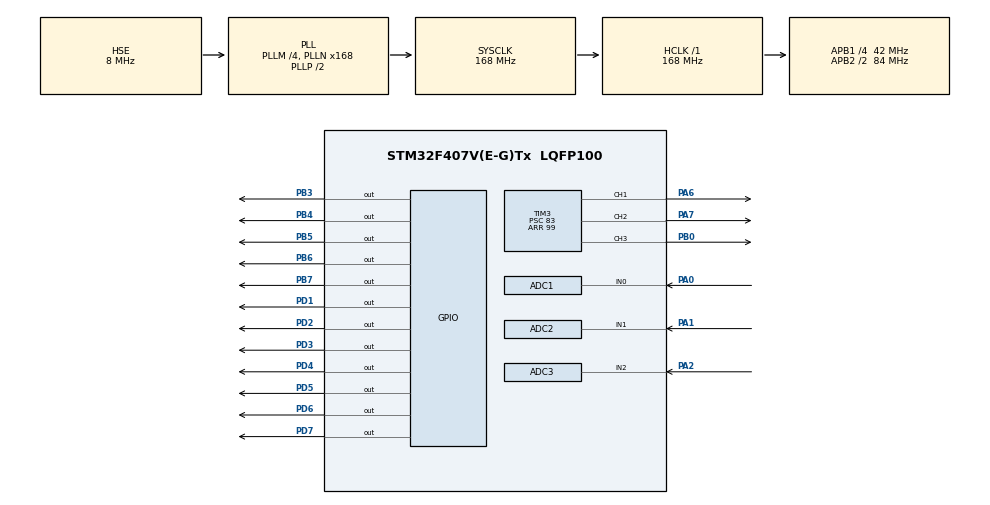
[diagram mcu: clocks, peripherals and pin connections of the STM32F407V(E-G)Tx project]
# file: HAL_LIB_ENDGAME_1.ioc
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ADC1.Channel-0\#ChannelRegularConversion=ADC_CHANNEL_0
ADC1.ContinuousConvMode=ENABLE
ADC1.NbrOfConversionFlag=1
ADC1.Rank-0\#ChannelRegularConversion=1
ADC1.SamplingTime-0\#ChannelRegularConversion=ADC_SAMPLETIME_3CYCLES
ADC1.master=1
ADC2.Channel-0\#ChannelRegularConversion=ADC_CHANNEL_1
ADC2.NbrOfConversionFlag=1
ADC2.Rank-0\#ChannelRegularConversion=1
ADC2.SamplingTime-0\#ChannelRegularConversion=ADC_SAMPLETIME_3CYCLES
ADC3.Channel-0\#ChannelRegularConversion=ADC_CHANNEL_2
ADC3.NbrOfConversionFlag=1
ADC3.Rank-0\#ChannelRegularConversion=1
ADC3.SamplingTime-0\#ChannelRegularConversion=ADC_SAMPLETIME_3CYCLES
Mcu.Family=STM32F4
Mcu.Name=STM32F407V(E-G)Tx
Mcu.Package=LQFP100
NVIC.PriorityGroup=NVIC_PRIORITYGROUP_4
PA0-WKUP.Signal=ADCx_IN0
PA1.Signal=ADCx_IN1
PA2.Signal=ADCx_IN2
PA6.Signal=S_TIM3_CH1
PA7.Signal=S_TIM3_CH2
PB0.Signal=S_TIM3_CH3
PB3.GPIO_Speed=GPIO_SPEED_FREQ_VERY_HIGH
PB3.Signal=GPIO_Output
PB4.GPIO_Speed=GPIO_SPEED_FREQ_VERY_HIGH
PB4.Signal=GPIO_Output
PB5.GPIO_Speed=GPIO_SPEED_FREQ_VERY_HIGH
PB5.Signal=GPIO_Output
PB6.GPIO_Speed=GPIO_SPEED_FREQ_VERY_HIGH
PB6.Signal=GPIO_Output
PB7.GPIO_Speed=GPIO_SPEED_FREQ_VERY_HIGH
PB7.Signal=GPIO_Output
PD1.GPIO_Speed=GPIO_SPEED_FREQ_VERY_HIGH
PD1.Signal=GPIO_Output
PD2.GPIO_Speed=GPIO_SPEED_FREQ_VERY_HIGH
PD2.Signal=GPIO_Output
PD3.GPIO_Speed=GPIO_SPEED_FREQ_VERY_HIGH
PD3.Signal=GPIO_Output
PD4.GPIO_Speed=GPIO_SPEED_FREQ_VERY_HIGH
PD4.Signal=GPIO_Output
PD5.GPIO_Speed=GPIO_SPEED_FREQ_VERY_HIGH
PD5.Signal=GPIO_Output
PD6.GPIO_Speed=GPIO_SPEED_FREQ_VERY_HIGH
PD6.Signal=GPIO_Output
PD7.GPIO_Speed=GPIO_SPEED_FREQ_VERY_HIGH
PD7.Signal=GPIO_Output
PH0-OSC_IN.Mode=HSE-External-Oscillator
PH0-OSC_IN.Signal=RCC_OSC_IN
PH1-OSC_OUT.Mode=HSE-External-Oscillator
PH1-OSC_OUT.Signal=RCC_OSC_OUT
ProjectManager.HeapSize=0x200
ProjectManager.StackSize=0x400
ProjectManager.TargetToolchain=STM32CubeIDE
RCC.48MHZClocksFreq_Value=84000000
RCC.AHBFreq_Value=168000000
RCC.APB1CLKDivider=RCC_HCLK_DIV4
RCC.APB1Freq_Value=42000000
RCC.APB1TimFreq_Value=84000000
RCC.APB2CLKDivider=RCC_HCLK_DIV2
RCC.APB2Freq_Value=84000000
RCC.APB2TimFreq_Value=168000000
RCC.CortexFreq_Value=168000000
RCC.HCLKFreq_Value=168000000
RCC.HSE_VALUE=8000000
RCC.HSI_VALUE=16000000
RCC.LSE_VALUE=32768
RCC.PLLM=4
RCC.PLLN=168
RCC.PLLSourceVirtual=RCC_PLLSOURCE_HSE
RCC.SYSCLKFreq_VALUE=168000000
RCC.SYSCLKSource=RCC_SYSCLKSOURCE_PLLCLK
RCC.VCOOutputFreq_Value=336000000
SH.ADCx_IN0.0=ADC1_IN0,IN0
SH.ADCx_IN1.0=ADC2_IN1,IN1
SH.ADCx_IN2.0=ADC3_IN2,IN2
SH.S_TIM3_CH1.0=TIM3_CH1,PWM Generation1 CH1
SH.S_TIM3_CH2.0=TIM3_CH2,PWM Generation2 CH2
SH.S_TIM3_CH3.0=TIM3_CH3,PWM Generation3 CH3
TIM3.Channel-PWM\ Generation1\ CH1=TIM_CHANNEL_1
TIM3.Channel-PWM\ Generation2\ CH2=TIM_CHANNEL_2
TIM3.Channel-PWM\ Generation3\ CH3=TIM_CHANNEL_3
TIM3.OCFastMode_PWM-PWM\ Generation1\ CH1=TIM_OCFAST_DISABLE
TIM3.Period=99
TIM3.Prescaler=83
board=custom

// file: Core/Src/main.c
/* USER CODE BEGIN Header */
/**
  ******************************************************************************
  * @file           : main.c
  * @brief          : Main program body
  ******************************************************************************
  * @attention
  *
  * Copyright (c) 2021 STMicroelectronics.
  * All rights reserved.
  *
  * This software is licensed under terms that can be found in the LICENSE file
  * in the root directory of this software component.
  * If no LICENSE file comes with this software, it is provided AS-IS.
  *
  ******************************************************************************
  */
/* USER CODE END Header */
#include "main.h"

/* USER CODE BEGIN Includes */

// verilerin tanımlaması yapılır
uint16_t adc_deger1, adc_deger2, adc_deger3;
uint32_t mapGeri, mapIleri;

/* USER CODE END Includes */

ADC_HandleTypeDef hadc1;
ADC_HandleTypeDef hadc2;
ADC_HandleTypeDef hadc3;

TIM_HandleTypeDef htim3;

void SystemClock_Config(void);
static void MX_GPIO_Init(void);
static void MX_ADC1_Init(void);
static void MX_ADC2_Init(void);
static void MX_ADC3_Init(void);
static void MX_TIM3_Init(void);

/* USER CODE BEGIN 0 */

// map fonksiyonu hazırla
uint32_t map(uint32_t variable, uint32_t variable_min, uint32_t variable_max, uint32_t new_min, uint32_t new_max){
	return (variable*new_max)/variable_max;
}

//ADC'den gelen verilerin okuması yapılır.

void pot1(){ // x düzlemi - ileri geri verisi
	HAL_ADC_Start(&hadc1);
	if(HAL_ADC_PollForConversion(&hadc1, 100000)==HAL_OK){
		adc_deger1 = HAL_ADC_GetValue(&hadc1);

		HAL_ADC_Stop(&hadc1);
	}
}

void pot2(){ // x düzlemi - sağ sol verisi
	HAL_ADC_Start(&hadc2);
	if(HAL_ADC_PollForConversion(&hadc2, 100000)==HAL_OK){
		adc_deger2 = HAL_ADC_GetValue(&hadc2);

		HAL_ADC_Stop(&hadc2);
	}
}

void pot3(){ // y düzlemi
	HAL_ADC_Start(&hadc3);
	if (HAL_ADC_PollForConversion(&hadc3, 100000)==HAL_OK){
		adc_deger3 = HAL_ADC_GetValue(&hadc3);

		HAL_ADC_Stop(&hadc3);
	}
}

void ileriGeri(uint16_t pot1){
	if (pot1<=1800){
		mapIleri = map(pot1, 0, 2200, 0, 500);

		__HAL_TIM_SET_COMPARE(&htim3, TIM_CHANNEL_1,mapIleri);

		HAL_GPIO_WritePin(GPIOB, GPIO_PIN_6, GPIO_AF2_TIM3); // sol ön motor ileri enable
		HAL_GPIO_WritePin(GPIOD, GPIO_PIN_7, GPIO_AF2_TIM3); // sağ ön motor ileri enable
		HAL_GPIO_WritePin(GPIOB, GPIO_PIN_5, GPIO_AF2_TIM3); // sol arka motor geri enable
		HAL_GPIO_WritePin(GPIOD, GPIO_PIN_6, GPIO_AF2_TIM3); // sağ arka motor geri enable

		HAL_GPIO_WritePin(GPIOB, GPIO_PIN_7, GPIO_PIN_RESET); //sol ön motor geri disable
		HAL_GPIO_WritePin(GPIOB, GPIO_PIN_4, GPIO_PIN_RESET); //sağ ön motor geri disable
		HAL_GPIO_WritePin(GPIOB, GPIO_PIN_3, GPIO_PIN_RESET); //sol arka motor ileri disable
		HAL_GPIO_WritePin(GPIOD, GPIO_PIN_5, GPIO_PIN_RESET); //sağ arka motor ileri disable

	}
	else if (2294<=pot1){
		mapGeri = map(pot1, 2294, 4095, 0, 500);

		__HAL_TIM_SET_COMPARE(&htim3, TIM_CHANNEL_1,mapGeri);

		HAL_GPIO_WritePin(GPIOB, GPIO_PIN_7, GPIO_AF2_TIM3); //sol ön motor geri enable
		HAL_GPIO_WritePin(GPIOB, GPIO_PIN_4, GPIO_AF2_TIM3); //sağ ön motor geri enable
		HAL_GPIO_WritePin(GPIOB, GPIO_PIN_3, GPIO_AF2_TIM3); //sol arka motor ileri enable
		HAL_GPIO_WritePin(GPIOD, GPIO_PIN_5, GPIO_AF2_TIM3); //sağ arka motor ileri enable

		HAL_GPIO_WritePin(GPIOB, GPIO_PIN_6, GPIO_PIN_RESET); // sol ön motor ileri disable
		HAL_GPIO_WritePin(GPIOD, GPIO_PIN_7, GPIO_PIN_RESET); // sağ ön motor ileri disable
		HAL_GPIO_WritePin(GPIOB, GPIO_PIN_5, GPIO_PIN_RESET); // sol arka motor geri disable
		HAL_GPIO_WritePin(GPIOD, GPIO_PIN_6, GPIO_PIN_RESET); // sağ arka motor geri disable

	}
	else{
		HAL_GPIO_WritePin(GPIOB, GPIO_PIN_7, GPIO_PIN_RESET); //sol ön motor geri disable
		HAL_GPIO_WritePin(GPIOB, GPIO_PIN_4, GPIO_PIN_RESET); //sağ ön motor geri disable
		HAL_GPIO_WritePin(GPIOB, GPIO_PIN_3, GPIO_PIN_RESET); //sol arka motor ileri disable
		HAL_GPIO_WritePin(GPIOD, GPIO_PIN_5, GPIO_PIN_RESET); //sağ arka motor ileri disable

		HAL_GPIO_WritePin(GPIOB, GPIO_PIN_6, GPIO_PIN_RESET); // sol ön motor ileri disable
		HAL_GPIO_WritePin(GPIOD, GPIO_PIN_7, GPIO_PIN_RESET); // sağ ön motor ileri disable
		HAL_GPIO_WritePin(GPIOB, GPIO_PIN_5, GPIO_PIN_RESET); // sol arka motor geri disable
		HAL_GPIO_WritePin(GPIOD, GPIO_PIN_6, GPIO_PIN_RESET); // sağ arka motor geri disable

		__HAL_TIM_SET_COMPARE(&htim3, TIM_CHANNEL_1,0);
	}
}

/* USER CODE END 0 */

int main(void)
{

  /* MCU Configuration--------------------------------------------------------*/

  /* Reset of all peripherals, Initializes the Flash interface and the Systick. */
  HAL_Init();

  /* Configure the system clock */
  SystemClock_Config();

  /* Initialize all configured peripherals */
  MX_GPIO_Init();
  MX_ADC1_Init();
  MX_ADC2_Init();
  MX_ADC3_Init();
  MX_TIM3_Init();
  /* USER CODE BEGIN 2 */

  // Timerları PWM için başlattık
  HAL_TIM_PWM_Start(&htim3, TIM_CHANNEL_1);
  HAL_TIM_PWM_Start(&htim3, TIM_CHANNEL_2);
  HAL_TIM_PWM_Start(&htim3, TIM_CHANNEL_3);

  /* USER CODE END 2 */

  /* Infinite loop */
  while (1)
  {

    /* USER CODE BEGIN 3 */
	  pot1();
	  pot2();
	  pot3();
	  ileriGeri(adc_deger1);
  }
  /* USER CODE END 3 */
}

void SystemClock_Config(void)
{
  RCC_OscInitTypeDef RCC_OscInitStruct = {0};
  RCC_ClkInitTypeDef RCC_ClkInitStruct = {0};

  /** Configure the main internal regulator output voltage
  */
  __HAL_RCC_PWR_CLK_ENABLE();
  __HAL_PWR_VOLTAGESCALING_CONFIG(PWR_REGULATOR_VOLTAGE_SCALE1);
  /** Initializes the RCC Oscillators according to the specified parameters
  * in the RCC_OscInitTypeDef structure.
  */
  RCC_OscInitStruct.OscillatorType = RCC_OSCILLATORTYPE_HSE;
  RCC_OscInitStruct.HSEState = RCC_HSE_ON;
  RCC_OscInitStruct.PLL.PLLState = RCC_PLL_ON;
  RCC_OscInitStruct.PLL.PLLSource = RCC_PLLSOURCE_HSE;
  RCC_OscInitStruct.PLL.PLLM = 4;
  RCC_OscInitStruct.PLL.PLLN = 168;
  RCC_OscInitStruct.PLL.PLLP = RCC_PLLP_DIV2;
  RCC_OscInitStruct.PLL.PLLQ = 4;
  if (HAL_RCC_OscConfig(&RCC_OscInitStruct) != HAL_OK)
  {
    Error_Handler();
  }
  /** Initializes the CPU, AHB and APB buses clocks
  */
  RCC_ClkInitStruct.ClockType = RCC_CLOCKTYPE_HCLK|RCC_CLOCKTYPE_SYSCLK
                              |RCC_CLOCKTYPE_PCLK1|RCC_CLOCKTYPE_PCLK2;
  RCC_ClkInitStruct.SYSCLKSource = RCC_SYSCLKSOURCE_PLLCLK;
  RCC_ClkInitStruct.AHBCLKDivider = RCC_SYSCLK_DIV1;
  RCC_ClkInitStruct.APB1CLKDivider = RCC_HCLK_DIV4;
  RCC_ClkInitStruct.APB2CLKDivider = RCC_HCLK_DIV2;

  if (HAL_RCC_ClockConfig(&RCC_ClkInitStruct, FLASH_LATENCY_5) != HAL_OK)
  {
    Error_Handler();
  }
}

static void MX_ADC1_Init(void)
{

  ADC_ChannelConfTypeDef sConfig = {0};

  /** Configure the global features of the ADC (Clock, Resolution, Data Alignment and number of conversion)
  */
  hadc1.Instance = ADC1;
  hadc1.Init.ClockPrescaler = ADC_CLOCK_SYNC_PCLK_DIV4;
  hadc1.Init.Resolution = ADC_RESOLUTION_12B;
  hadc1.Init.ScanConvMode = DISABLE;
  hadc1.Init.ContinuousConvMode = ENABLE;
  hadc1.Init.DiscontinuousConvMode = DISABLE;
  hadc1.Init.ExternalTrigConvEdge = ADC_EXTERNALTRIGCONVEDGE_NONE;
  hadc1.Init.ExternalTrigConv = ADC_SOFTWARE_START;
  hadc1.Init.DataAlign = ADC_DATAALIGN_RIGHT;
  hadc1.Init.NbrOfConversion = 1;
  hadc1.Init.DMAContinuousRequests = DISABLE;
  hadc1.Init.EOCSelection = ADC_EOC_SINGLE_CONV;
  if (HAL_ADC_Init(&hadc1) != HAL_OK)
  {
    Error_Handler();
  }
  /** Configure for the selected ADC regular channel its corresponding rank in the sequencer and its sample time.
  */
  sConfig.Channel = ADC_CHANNEL_0;
  sConfig.Rank = 1;
  sConfig.SamplingTime = ADC_SAMPLETIME_3CYCLES;
  if (HAL_ADC_ConfigChannel(&hadc1, &sConfig) != HAL_OK)
  {
    Error_Handler();
  }

}

static void MX_ADC2_Init(void)
{

  ADC_ChannelConfTypeDef sConfig = {0};

  /** Configure the global features of the ADC (Clock, Resolution, Data Alignment and number of conversion)
  */
  hadc2.Instance = ADC2;
  hadc2.Init.ClockPrescaler = ADC_CLOCK_SYNC_PCLK_DIV4;
  hadc2.Init.Resolution = ADC_RESOLUTION_12B;
  hadc2.Init.ScanConvMode = DISABLE;
  hadc2.Init.ContinuousConvMode = ENABLE;
  hadc2.Init.DiscontinuousConvMode = DISABLE;
  hadc2.Init.ExternalTrigConvEdge = ADC_EXTERNALTRIGCONVEDGE_NONE;
  hadc2.Init.ExternalTrigConv = ADC_SOFTWARE_START;
  hadc2.Init.DataAlign = ADC_DATAALIGN_RIGHT;
  hadc2.Init.NbrOfConversion = 1;
  hadc2.Init.DMAContinuousRequests = DISABLE;
  hadc2.Init.EOCSelection = ADC_EOC_SINGLE_CONV;
  if (HAL_ADC_Init(&hadc2) != HAL_OK)
  {
    Error_Handler();
  }
  /** Configure for the selected ADC regular channel its corresponding rank in the sequencer and its sample time.
  */
  sConfig.Channel = ADC_CHANNEL_1;
  sConfig.Rank = 1;
  sConfig.SamplingTime = ADC_SAMPLETIME_3CYCLES;
  if (HAL_ADC_ConfigChannel(&hadc2, &sConfig) != HAL_OK)
  {
    Error_Handler();
  }

}

static void MX_ADC3_Init(void)
{

  ADC_ChannelConfTypeDef sConfig = {0};

  /** Configure the global features of the ADC (Clock, Resolution, Data Alignment and number of conversion)
  */
  hadc3.Instance = ADC3;
  hadc3.Init.ClockPrescaler = ADC_CLOCK_SYNC_PCLK_DIV4;
  hadc3.Init.Resolution = ADC_RESOLUTION_12B;
  hadc3.Init.ScanConvMode = DISABLE;
  hadc3.Init.ContinuousConvMode = ENABLE;
  hadc3.Init.DiscontinuousConvMode = DISABLE;
  hadc3.Init.ExternalTrigConvEdge = ADC_EXTERNALTRIGCONVEDGE_NONE;
  hadc3.Init.ExternalTrigConv = ADC_SOFTWARE_START;
  hadc3.Init.DataAlign = ADC_DATAALIGN_RIGHT;
  hadc3.Init.NbrOfConversion = 1;
  hadc3.Init.DMAContinuousRequests = DISABLE;
  hadc3.Init.EOCSelection = ADC_EOC_SINGLE_CONV;
  if (HAL_ADC_Init(&hadc3) != HAL_OK)
  {
    Error_Handler();
  }
  /** Configure for the selected ADC regular channel its corresponding rank in the sequencer and its sample time.
  */
  sConfig.Channel = ADC_CHANNEL_2;
  sConfig.Rank = 1;
  sConfig.SamplingTime = ADC_SAMPLETIME_3CYCLES;
  if (HAL_ADC_ConfigChannel(&hadc3, &sConfig) != HAL_OK)
  {
    Error_Handler();
  }

}

static void MX_TIM3_Init(void)
{

  TIM_MasterConfigTypeDef sMasterConfig = {0};
  TIM_OC_InitTypeDef sConfigOC = {0};

  htim3.Instance = TIM3;
  htim3.Init.Prescaler = 83;
  htim3.Init.CounterMode = TIM_COUNTERMODE_UP;
  htim3.Init.Period = 99;
  htim3.Init.ClockDivision = TIM_CLOCKDIVISION_DIV1;
  htim3.Init.AutoReloadPreload = TIM_AUTORELOAD_PRELOAD_DISABLE;
  if (HAL_TIM_PWM_Init(&htim3) != HAL_OK)
  {
    Error_Handler();
  }
  sMasterConfig.MasterOutputTrigger = TIM_TRGO_RESET;
  sMasterConfig.MasterSlaveMode = TIM_MASTERSLAVEMODE_DISABLE;
  if (HAL_TIMEx_MasterConfigSynchronization(&htim3, &sMasterConfig) != HAL_OK)
  {
    Error_Handler();
  }
  sConfigOC.OCMode = TIM_OCMODE_PWM1;
  sConfigOC.Pulse = 0;
  sConfigOC.OCPolarity = TIM_OCPOLARITY_HIGH;
  sConfigOC.OCFastMode = TIM_OCFAST_DISABLE;
  if (HAL_TIM_PWM_ConfigChannel(&htim3, &sConfigOC, TIM_CHANNEL_1) != HAL_OK)
  {
    Error_Handler();
  }
  if (HAL_TIM_PWM_ConfigChannel(&htim3, &sConfigOC, TIM_CHANNEL_2) != HAL_OK)
  {
    Error_Handler();
  }
  if (HAL_TIM_PWM_ConfigChannel(&htim3, &sConfigOC, TIM_CHANNEL_3) != HAL_OK)
  {
    Error_Handler();
  }
  HAL_TIM_MspPostInit(&htim3);

}

static void MX_GPIO_Init(void)
{
  GPIO_InitTypeDef GPIO_InitStruct = {0};

  /* GPIO Ports Clock Enable */
  __HAL_RCC_GPIOH_CLK_ENABLE();
  __HAL_RCC_GPIOA_CLK_ENABLE();
  __HAL_RCC_GPIOB_CLK_ENABLE();
  __HAL_RCC_GPIOD_CLK_ENABLE();

  /*Configure GPIO pin Output Level */
  HAL_GPIO_WritePin(GPIOD, GPIO_PIN_1|GPIO_PIN_2|GPIO_PIN_3|GPIO_PIN_4
                          |GPIO_PIN_5|GPIO_PIN_6|GPIO_PIN_7, GPIO_PIN_RESET);

  /*Configure GPIO pin Output Level */
  HAL_GPIO_WritePin(GPIOB, GPIO_PIN_3|GPIO_PIN_4|GPIO_PIN_5|GPIO_PIN_6
                          |GPIO_PIN_7, GPIO_PIN_RESET);

  /*Configure GPIO pins : PD1 PD2 PD3 PD4
                           PD5 PD6 PD7 */
  GPIO_InitStruct.Pin = GPIO_PIN_1|GPIO_PIN_2|GPIO_PIN_3|GPIO_PIN_4
                          |GPIO_PIN_5|GPIO_PIN_6|GPIO_PIN_7;
  GPIO_InitStruct.Mode = GPIO_MODE_OUTPUT_PP;
  GPIO_InitStruct.Pull = GPIO_NOPULL;
  GPIO_InitStruct.Speed = GPIO_SPEED_FREQ_VERY_HIGH;
  HAL_GPIO_Init(GPIOD, &GPIO_InitStruct);

  /*Configure GPIO pins : PB3 PB4 PB5 PB6
                           PB7 */
  GPIO_InitStruct.Pin = GPIO_PIN_3|GPIO_PIN_4|GPIO_PIN_5|GPIO_PIN_6
                          |GPIO_PIN_7;
  GPIO_InitStruct.Mode = GPIO_MODE_OUTPUT_PP;
  GPIO_InitStruct.Pull = GPIO_NOPULL;
  GPIO_InitStruct.Speed = GPIO_SPEED_FREQ_VERY_HIGH;
  HAL_GPIO_Init(GPIOB, &GPIO_InitStruct);

}

void Error_Handler(void)
{
  __disable_irq();
  while (1)
  {
  }
}
